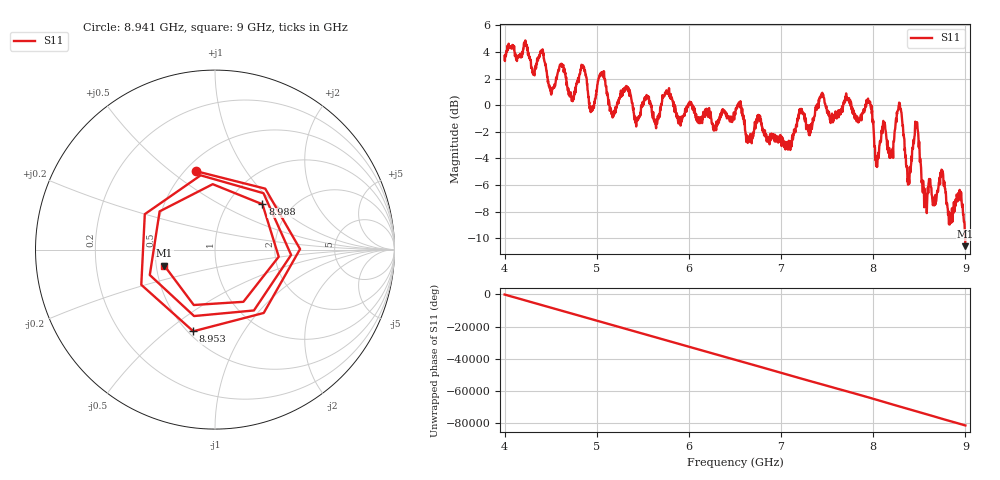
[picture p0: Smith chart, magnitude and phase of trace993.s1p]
! Created with skrf 1.8.0 (http://scikit-rf.org).
# Hz S RI R 50.0
!freq ReS11 ImS11
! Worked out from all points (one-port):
!   1601 points, 4 GHz to 9 GHz, reference 50 ohm
!   lowest |S11| = -10.6 dB at 9 GHz (marker M1), VSWR 1.84, Z = 27.7 - j5.48 ohm
!   |S11| at or under -10 dB: 8.99819 GHz to end of sweep
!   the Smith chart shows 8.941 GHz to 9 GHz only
!   S11 on the Smith chart (normalised r, x): 8.941 GHz: 0.57, +0.62; 8.953 GHz: 0.53, -0.62; 8.988 GHz: 1.43, +0.84; 9 GHz: 0.55, -0.11
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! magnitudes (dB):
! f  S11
! 4 GHz  3.7
! 4.4 GHz  4.1
! 4.512 GHz  0.9
! 4.625 GHz  3.0
! 4.728 GHz  0.3
! 4.847 GHz  3.0
! 4.944 GHz  -0.3
! 5.053 GHz  2.3
! 5.162 GHz  -0.5
! 5.25 GHz  0.6
! 5.875 GHz  -0.8
! 6.5 GHz  -0.6
! 7.125 GHz  -2.2
! 7.434 GHz  0.6
! 7.75 GHz  0.4
! 7.962 GHz  0.2
! 8.038 GHz  -4.4
! 8.112 GHz  -1.4
! 8.2 GHz  -3.8
! 8.288 GHz  0.2
! 8.375 GHz  -5.5
! 8.466 GHz  -1.4
! 8.562 GHz  -6.9
! 8.838 GHz  -8.4
! 8.941 GHz  -7.0
! 8.953 GHz  -6.5
! 8.988 GHz  -8.7
! 9 GHz  -10.6
